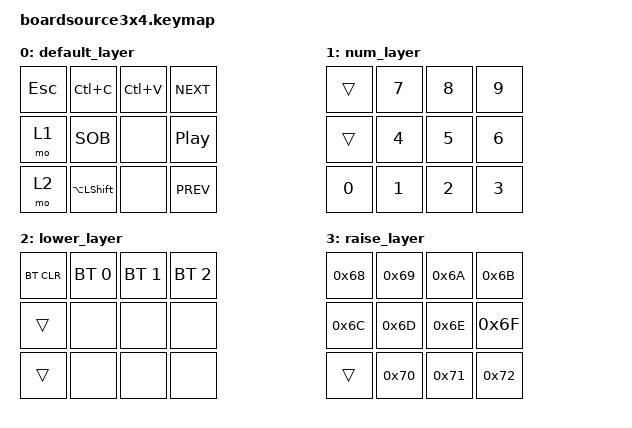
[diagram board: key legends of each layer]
/*
 * Copyright (c) 2020 The ZMK Contributors
 *
 * SPDX-License-Identifier: MIT
 */

#include <behaviors.dtsi>
#include <dt-bindings/zmk/bt.h>
#include <dt-bindings/zmk/keys.h>

/ {
    macros {
        SOB: SOB {
            compatible = "zmk,behavior-macro";
            #binding-cells = <0>;
            bindings = <&kp C &kp V &kp J &kp N &kp H &kp T &kp N &kp M &kp SPACE &kp J &kp Y &kp K &kp F &kp Q &kp Y &kp SPACE &kp COMMA &kp T &kp C &kp G &kp K &kp F &kp N &kp Y &kp J>;
            label = "SOB";
        };

        animego: anilib {
            compatible = "zmk,behavior-macro";
            #binding-cells = <0>;
            bindings = <&kp LC(T) &none &kp H &kp T &kp T &kp P &kp S &kp COLON &kp FSLH &kp FSLH &kp A &kp N &kp I &kp M &kp E &kp G &kp O &kp DOT &kp L &kp O &kp L &kp FSLH &kp RET>;
            label = "ANILIB";
        };
    };

    combos {
        compatible = "zmk,combos";

        v_up {
            bindings = <&kp C_VOL_UP>;
            key-positions = <7 3>;
        };

        v_down {
            bindings = <&kp C_VOL_DN>;
            key-positions = <7 11>;
        };

        left {
            bindings = <&kp LEFT>;
            key-positions = <6 5>;
        };

        up {
            bindings = <&kp UP>;
            key-positions = <6 2>;
        };

        right {
            bindings = <&kp RIGHT>;
            key-positions = <6 7>;
        };

        down {
            bindings = <&kp DOWN>;
            key-positions = <6 10>;
        };
    };

    keymap {
        compatible = "zmk,keymap";

        default_layer {
            bindings = <
&kp ESC  &kp LC(C)       &kp LC(V)  &kp C_NEXT
&mo 1    &SOB            &none      &kp C_PLAY_PAUSE
&mo 2    &kp LA(LSHIFT)  &none      &kp C_PREV
            >;
        };

        num_layer {
            bindings = <
&trans  &kp N7  &kp N8  &kp N9
&trans  &kp N4  &kp N5  &kp N6
&kp N0  &kp N1  &kp N2  &kp N3
            >;
        };

        lower_layer {
            bindings = <
&bt BT_CLR  &bt BT_SEL 0  &bt BT_SEL 1  &bt BT_SEL 2
&trans      &none         &none         &none
&trans      &none         &none         &none
            >;
        };

        raise_layer {
            bindings = <
&kp 0x68  &kp 0x69  &kp 0x6A  &kp 0x6B
&kp 0x6C  &kp 0x6D  &kp 0x6E  &kp 0x6F
&trans    &kp 0x70  &kp 0x71  &kp 0x72
            >;
        };
    };
};
